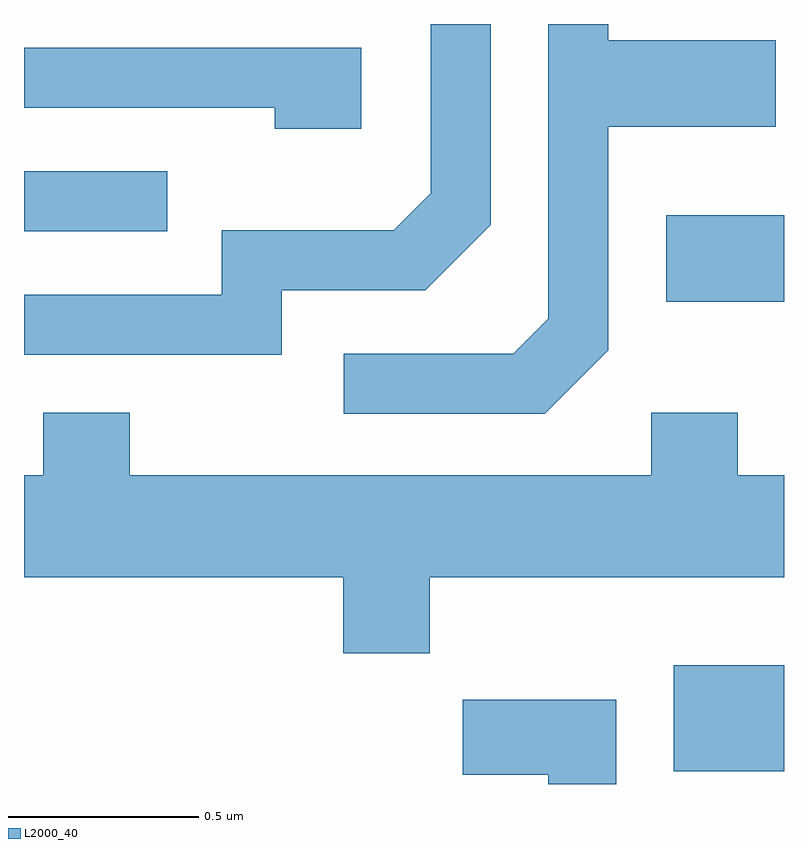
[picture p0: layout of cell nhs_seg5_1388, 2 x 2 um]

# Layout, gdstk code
import gdstk
lib = gdstk.Library(unit=1e-6, precision=1e-09)
def R(c, l, rs):  # rectangles x0, y0, x1, y1
    for r in rs: c.add(gdstk.rectangle(r[:2], r[2:], *l))
def P(c, l, *ps):  # polygons
    for p in ps: c.add(gdstk.Polygon(p, *l))
L2000_40 = (2000, 40)

nhs_seg5_1388 = lib.new_cell('nhs_seg5_1388')
R(nhs_seg5_1388, L2000_40, [(197.321,1414.106,197.611,1414.384), (197.301,1415.341,197.611,1415.569), (195.611,1415.526,195.988,1415.684)])
P(nhs_seg5_1388, L2000_40, [(196.289,1415.371),(196.667,1415.371),(196.839,1415.544),(196.839,1416.072),(196.681,1416.072),(196.681,1415.627),(196.584,1415.529),(196.131,1415.529),(196.131,1415.359),(195.611,1415.359),(195.611,1415.201),(196.289,1415.201)],
  [(197.149,1415.214),(197.149,1415.801),(197.589,1415.801),(197.589,1416.029),(197.149,1416.029),(197.149,1416.072),(196.991,1416.072),(196.991,1415.297),(196.899,1415.204),(196.453,1415.204),(196.453,1415.046),(196.982,1415.046)],
  [(196.499,1416.009),(195.611,1416.009),(195.611,1415.851),(196.271,1415.851),(196.271,1415.796),(196.499,1415.796)],
  [(196.679,1414.616),(197.611,1414.616),(197.611,1414.884),(197.489,1414.884),(197.489,1415.049),(197.261,1415.049),(197.261,1414.884),(195.889,1414.884),(195.889,1415.049),(195.661,1415.049),(195.661,1414.884),(195.611,1414.884),(195.611,1414.616),(196.451,1414.616),(196.451,1414.416),(196.679,1414.416)],
  [(197.169,1414.294),(196.766,1414.294),(196.766,1414.096),(196.991,1414.096),(196.991,1414.072),(197.169,1414.072)])

lib.write_gds('nhs_seg5_1388.gds')
